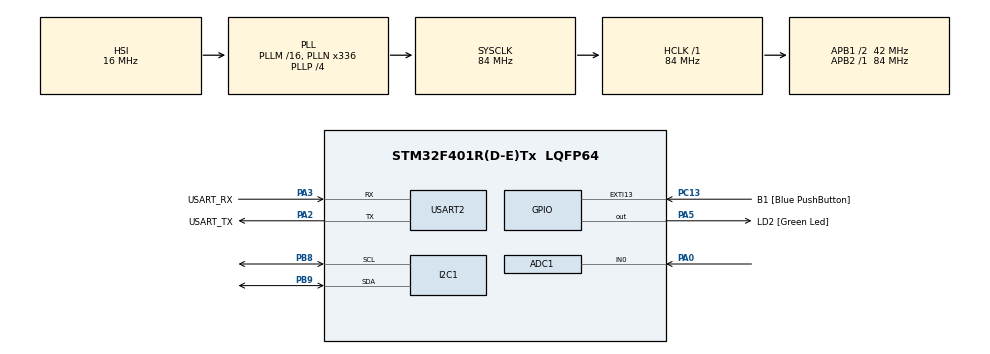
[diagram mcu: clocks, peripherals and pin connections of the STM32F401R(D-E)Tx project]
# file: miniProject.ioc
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ADC1.Channel-0\#ChannelRegularConversion=ADC_CHANNEL_0
ADC1.NbrOfConversionFlag=1
ADC1.Rank-0\#ChannelRegularConversion=1
ADC1.SamplingTime-0\#ChannelRegularConversion=ADC_SAMPLETIME_3CYCLES
ADC1.master=1
Mcu.Family=STM32F4
Mcu.Name=STM32F401R(D-E)Tx
Mcu.Package=LQFP64
NVIC.ADC_IRQn=true\:0\:0\:false\:false\:true\:true\:true\:true
NVIC.PriorityGroup=NVIC_PRIORITYGROUP_0
PA0-WKUP.Signal=ADCx_IN0
PA13.GPIO_Label=TMS
PA13.Mode=Serial_Wire
PA13.Signal=SYS_JTMS-SWDIO
PA14.GPIO_Label=TCK
PA14.Mode=Serial_Wire
PA14.Signal=SYS_JTCK-SWCLK
PA2.GPIO_Label=USART_TX
PA2.GPIO_Mode=GPIO_MODE_AF_PP
PA2.GPIO_PuPd=GPIO_NOPULL
PA2.GPIO_Speed=GPIO_SPEED_FREQ_LOW
PA2.Mode=Asynchronous
PA2.Signal=USART2_TX
PA3.GPIO_Label=USART_RX
PA3.GPIO_Mode=GPIO_MODE_AF_PP
PA3.GPIO_PuPd=GPIO_NOPULL
PA3.GPIO_Speed=GPIO_SPEED_FREQ_LOW
PA3.Mode=Asynchronous
PA3.Signal=USART2_RX
PA5.GPIO_Label=LD2 [Green Led]
PA5.GPIO_Mode=GPIO_MODE_OUTPUT_PP
PA5.GPIO_PuPd=GPIO_NOPULL
PA5.GPIO_Speed=GPIO_SPEED_FREQ_LOW
PA5.Signal=GPIO_Output
PB3.GPIO_Label=SWO
PB3.Signal=SYS_JTDO-SWO
PB8.Mode=I2C
PB8.Signal=I2C1_SCL
PB9.Mode=I2C
PB9.Signal=I2C1_SDA
PC13-ANTI_TAMP.GPIO_Label=B1 [Blue PushButton]
PC13-ANTI_TAMP.GPIO_ModeDefaultEXTI=GPIO_MODE_IT_FALLING
PC13-ANTI_TAMP.GPIO_PuPd=GPIO_NOPULL
PC13-ANTI_TAMP.Signal=GPXTI13
PC14-OSC32_IN.Mode=LSE-External-Oscillator
PC14-OSC32_IN.Signal=RCC_OSC32_IN
PC15-OSC32_OUT.Mode=LSE-External-Oscillator
PC15-OSC32_OUT.Signal=RCC_OSC32_OUT
PH0\ -\ OSC_IN.Mode=HSE-External-Clock-Source
PH0\ -\ OSC_IN.Signal=RCC_OSC_IN
PH1\ -\ OSC_OUT.Mode=HSE-External-Clock-Source
PH1\ -\ OSC_OUT.Signal=RCC_OSC_OUT
ProjectManager.HeapSize=0x200
ProjectManager.StackSize=0x400
ProjectManager.TargetToolchain=STM32CubeIDE
RCC.48MHZClocksFreq_Value=48000000
RCC.AHBFreq_Value=84000000
RCC.APB1CLKDivider=RCC_HCLK_DIV2
RCC.APB1Freq_Value=42000000
RCC.APB1TimFreq_Value=84000000
RCC.APB2Freq_Value=84000000
RCC.APB2TimFreq_Value=84000000
RCC.CortexFreq_Value=84000000
RCC.HCLKFreq_Value=84000000
RCC.HSE_VALUE=8000000
RCC.HSI_VALUE=16000000
RCC.PLLN=336
RCC.PLLP=RCC_PLLP_DIV4
RCC.PLLQ=7
RCC.SYSCLKFreq_VALUE=84000000
RCC.SYSCLKSource=RCC_SYSCLKSOURCE_PLLCLK
RCC.VCOOutputFreq_Value=336000000
SH.ADCx_IN0.0=ADC1_IN0,IN0
USART2.VirtualMode=VM_ASYNC
board=NUCLEO-F401RE

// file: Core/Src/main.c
/* USER CODE BEGIN Header */
/**
 ******************************************************************************
 * @file           : main.c
 * @brief          : Main program body
 ******************************************************************************
 * @attention
 *
 * Copyright (c) 2024 STMicroelectronics.
 * All rights reserved.
 *
 * This software is licensed under terms that can be found in the LICENSE file
 * in the root directory of this software component.
 * If no LICENSE file comes with this software, it is provided AS-IS.
 *
 ******************************************************************************
 */
/* USER CODE END Header */
#include "main.h"

/* USER CODE BEGIN Includes */
#include "lcd.h"
#include <stdio.h>
#include <string.h>
/* USER CODE END Includes */

ADC_HandleTypeDef hadc1;

I2C_HandleTypeDef hi2c1;

UART_HandleTypeDef huart2;

/* USER CODE BEGIN PV */
uint16_t adc_val;
uint16_t flag = 0;
/* USER CODE END PV */

void SystemClock_Config(void);
static void MX_GPIO_Init(void);
static void MX_USART2_UART_Init(void);
static void MX_ADC1_Init(void);
static void MX_I2C1_Init(void);

/* USER CODE BEGIN 0 */
void HAL_ADC_ConvCpltCallback( ADC_HandleTypeDef *hadc ){
	adc_val = HAL_ADC_GetValue(hadc);
	// används för att hämta avlästa värdet från ADC-omvandlaren och spara det i variabeln adc_val.
	if(adc_val > 200){
		flag = 1;
	}
	//sedan kontrolleras om avlästa värdet (adc_val) är större än 200. Om det är så, sätts flaggan flag till 1.
}

/* USER CODE END 0 */

int main(void)
{

	/* MCU Configuration--------------------------------------------------------*/

	/* Reset of all peripherals, Initializes the Flash interface and the Systick. */
	HAL_Init();

	/* Configure the system clock */
	SystemClock_Config();

	/* Initialize all configured peripherals */
	MX_GPIO_Init();
	MX_USART2_UART_Init();
	MX_ADC1_Init();
	MX_I2C1_Init();

	/* Infinite loop */
	/* USER CODE BEGIN WHILE */
	while (1)
	{
		//om flaggan flag är satt till 1 (vilket innebär att ADC-värdet har överstigit tröskelvärdet på 200)
		if(flag == 1)
		{
			char str[20];
			sprintf(str, "Water is detected!\r\n");
			HAL_UART_Transmit(&huart2, (uint8_t*)str, strlen(str), 200);
			flag = 0;
		}
		HAL_Delay(400);
		HAL_ADC_Start_IT(&hadc1);
		//en ny ADC-omvandling startas med HAL_ADC_Start_IT(&hadc1) för att förbereda för nästa avläsning.
		/* USER CODE END WHILE */

	}
}

void SystemClock_Config(void)
{
	RCC_OscInitTypeDef RCC_OscInitStruct = {0};
	RCC_ClkInitTypeDef RCC_ClkInitStruct = {0};

	/** Configure the main internal regulator output voltage
	 */
	__HAL_RCC_PWR_CLK_ENABLE();
	__HAL_PWR_VOLTAGESCALING_CONFIG(PWR_REGULATOR_VOLTAGE_SCALE2);

	/** Initializes the RCC Oscillators according to the specified parameters
	 * in the RCC_OscInitTypeDef structure.
	 */
	RCC_OscInitStruct.OscillatorType = RCC_OSCILLATORTYPE_HSI;
	RCC_OscInitStruct.HSIState = RCC_HSI_ON;
	RCC_OscInitStruct.HSICalibrationValue = RCC_HSICALIBRATION_DEFAULT;
	RCC_OscInitStruct.PLL.PLLState = RCC_PLL_ON;
	RCC_OscInitStruct.PLL.PLLSource = RCC_PLLSOURCE_HSI;
	RCC_OscInitStruct.PLL.PLLM = 16;
	RCC_OscInitStruct.PLL.PLLN = 336;
	RCC_OscInitStruct.PLL.PLLP = RCC_PLLP_DIV4;
	RCC_OscInitStruct.PLL.PLLQ = 7;
	if (HAL_RCC_OscConfig(&RCC_OscInitStruct) != HAL_OK)
	{
		Error_Handler();
	}

	/** Initializes the CPU, AHB and APB buses clocks
	 */
	RCC_ClkInitStruct.ClockType = RCC_CLOCKTYPE_HCLK|RCC_CLOCKTYPE_SYSCLK
			|RCC_CLOCKTYPE_PCLK1|RCC_CLOCKTYPE_PCLK2;
	RCC_ClkInitStruct.SYSCLKSource = RCC_SYSCLKSOURCE_PLLCLK;
	RCC_ClkInitStruct.AHBCLKDivider = RCC_SYSCLK_DIV1;
	RCC_ClkInitStruct.APB1CLKDivider = RCC_HCLK_DIV2;
	RCC_ClkInitStruct.APB2CLKDivider = RCC_HCLK_DIV1;

	if (HAL_RCC_ClockConfig(&RCC_ClkInitStruct, FLASH_LATENCY_2) != HAL_OK)
	{
		Error_Handler();
	}
}

static void MX_ADC1_Init(void)
{

	ADC_ChannelConfTypeDef sConfig = {0};

	/** Configure the global features of the ADC (Clock, Resolution, Data Alignment and number of conversion)
	 */
	hadc1.Instance = ADC1;
	hadc1.Init.ClockPrescaler = ADC_CLOCK_SYNC_PCLK_DIV4;
	hadc1.Init.Resolution = ADC_RESOLUTION_12B;
	hadc1.Init.ScanConvMode = DISABLE;
	hadc1.Init.ContinuousConvMode = DISABLE;
	hadc1.Init.DiscontinuousConvMode = DISABLE;
	hadc1.Init.ExternalTrigConvEdge = ADC_EXTERNALTRIGCONVEDGE_NONE;
	hadc1.Init.ExternalTrigConv = ADC_SOFTWARE_START;
	hadc1.Init.DataAlign = ADC_DATAALIGN_RIGHT;
	hadc1.Init.NbrOfConversion = 1;
	hadc1.Init.DMAContinuousRequests = DISABLE;
	hadc1.Init.EOCSelection = ADC_EOC_SINGLE_CONV;
	if (HAL_ADC_Init(&hadc1) != HAL_OK)
	{
		Error_Handler();
	}

	/** Configure for the selected ADC regular channel its corresponding rank in the sequencer and its sample time.
	 */
	sConfig.Channel = ADC_CHANNEL_0;
	sConfig.Rank = 1;
	sConfig.SamplingTime = ADC_SAMPLETIME_3CYCLES;
	if (HAL_ADC_ConfigChannel(&hadc1, &sConfig) != HAL_OK)
	{
		Error_Handler();
	}

}

static void MX_I2C1_Init(void)
{

	hi2c1.Instance = I2C1;
	hi2c1.Init.ClockSpeed = 100000;
	hi2c1.Init.DutyCycle = I2C_DUTYCYCLE_2;
	hi2c1.Init.OwnAddress1 = 0;
	hi2c1.Init.AddressingMode = I2C_ADDRESSINGMODE_7BIT;
	hi2c1.Init.DualAddressMode = I2C_DUALADDRESS_DISABLE;
	hi2c1.Init.OwnAddress2 = 0;
	hi2c1.Init.GeneralCallMode = I2C_GENERALCALL_DISABLE;
	hi2c1.Init.NoStretchMode = I2C_NOSTRETCH_DISABLE;
	if (HAL_I2C_Init(&hi2c1) != HAL_OK)
	{
		Error_Handler();
	}

}

static void MX_USART2_UART_Init(void)
{

	huart2.Instance = USART2;
	huart2.Init.BaudRate = 115200;
	huart2.Init.WordLength = UART_WORDLENGTH_8B;
	huart2.Init.StopBits = UART_STOPBITS_1;
	huart2.Init.Parity = UART_PARITY_NONE;
	huart2.Init.Mode = UART_MODE_TX_RX;
	huart2.Init.HwFlowCtl = UART_HWCONTROL_NONE;
	huart2.Init.OverSampling = UART_OVERSAMPLING_16;
	if (HAL_UART_Init(&huart2) != HAL_OK)
	{
		Error_Handler();
	}

}

static void MX_GPIO_Init(void)
{
	GPIO_InitTypeDef GPIO_InitStruct = {0};

	/* GPIO Ports Clock Enable */
	__HAL_RCC_GPIOC_CLK_ENABLE();
	__HAL_RCC_GPIOH_CLK_ENABLE();
	__HAL_RCC_GPIOA_CLK_ENABLE();
	__HAL_RCC_GPIOB_CLK_ENABLE();

	/*Configure GPIO pin Output Level */
	HAL_GPIO_WritePin(LD2_GPIO_Port, LD2_Pin, GPIO_PIN_RESET);

	/*Configure GPIO pin : B1_Pin */
	GPIO_InitStruct.Pin = B1_Pin;
	GPIO_InitStruct.Mode = GPIO_MODE_IT_FALLING;
	GPIO_InitStruct.Pull = GPIO_NOPULL;
	HAL_GPIO_Init(B1_GPIO_Port, &GPIO_InitStruct);

	/*Configure GPIO pin : LD2_Pin */
	GPIO_InitStruct.Pin = LD2_Pin;
	GPIO_InitStruct.Mode = GPIO_MODE_OUTPUT_PP;
	GPIO_InitStruct.Pull = GPIO_NOPULL;
	GPIO_InitStruct.Speed = GPIO_SPEED_FREQ_LOW;
	HAL_GPIO_Init(LD2_GPIO_Port, &GPIO_InitStruct);

}

void Error_Handler(void)
{
	__disable_irq();
	while (1)
	{
	}
}
